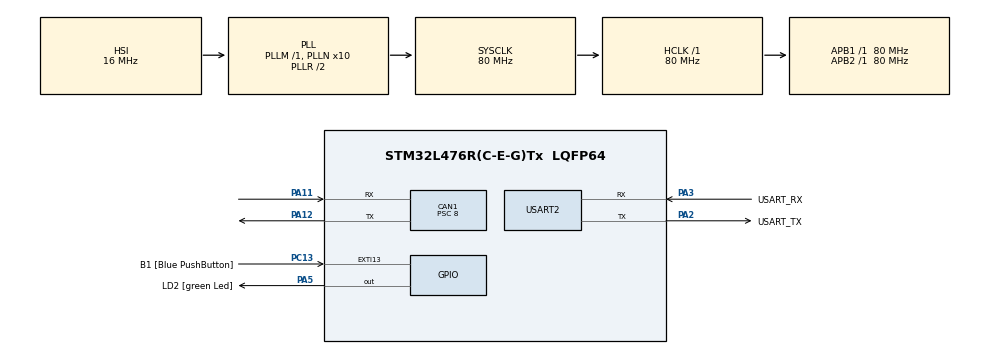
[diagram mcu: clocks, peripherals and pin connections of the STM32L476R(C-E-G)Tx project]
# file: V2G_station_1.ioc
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CAN1.BS1=CAN_BS1_10TQ
CAN1.CalculateBaudRate=833333
CAN1.CalculateTimeBit=1200
CAN1.CalculateTimeQuantum=100.0
CAN1.Prescaler=8
Mcu.Family=STM32L4
Mcu.Name=STM32L476R(C-E-G)Tx
Mcu.Package=LQFP64
NVIC.CAN1_RX0_IRQn=true\:0\:0\:false\:false\:true\:true\:true\:true
NVIC.CAN1_RX1_IRQn=true\:0\:0\:false\:false\:true\:true\:true\:true
NVIC.CAN1_SCE_IRQn=true\:0\:0\:false\:false\:true\:true\:true\:true
NVIC.CAN1_TX_IRQn=true\:0\:0\:false\:false\:true\:true\:true\:true
NVIC.PriorityGroup=NVIC_PRIORITYGROUP_4
NVIC.USART2_IRQn=true\:0\:0\:false\:false\:true\:true\:true\:true
PA11.Mode=CAN_Activate
PA11.Signal=CAN1_RX
PA12.Mode=CAN_Activate
PA12.Signal=CAN1_TX
PA13\ (JTMS-SWDIO).GPIO_Label=TMS
PA13\ (JTMS-SWDIO).Mode=Serial_Wire
PA13\ (JTMS-SWDIO).Signal=SYS_JTMS-SWDIO
PA14\ (JTCK-SWCLK).GPIO_Label=TCK
PA14\ (JTCK-SWCLK).Mode=Serial_Wire
PA14\ (JTCK-SWCLK).Signal=SYS_JTCK-SWCLK
PA2.GPIO_Label=USART_TX
PA2.GPIO_Mode=GPIO_MODE_AF_PP
PA2.GPIO_PuPd=GPIO_NOPULL
PA2.GPIO_Speed=GPIO_SPEED_FREQ_VERY_HIGH
PA2.Mode=Asynchronous
PA2.Signal=USART2_TX
PA3.GPIO_Label=USART_RX
PA3.GPIO_Mode=GPIO_MODE_AF_PP
PA3.GPIO_PuPd=GPIO_NOPULL
PA3.GPIO_Speed=GPIO_SPEED_FREQ_VERY_HIGH
PA3.Mode=Asynchronous
PA3.Signal=USART2_RX
PA5.GPIO_Label=LD2 [green Led]
PA5.GPIO_ModeDefaultOutputPP=GPIO_MODE_OUTPUT_PP
PA5.GPIO_PuPd=GPIO_NOPULL
PA5.GPIO_Speed=GPIO_SPEED_FREQ_LOW
PA5.Signal=GPIO_Output
PB3\ (JTDO-TRACESWO).GPIO_Label=SWO
PB3\ (JTDO-TRACESWO).Signal=SYS_JTDO-SWO
PC13.GPIO_Label=B1 [Blue PushButton]
PC13.GPIO_ModeDefaultEXTI=GPIO_MODE_IT_FALLING
PC13.GPIO_PuPd=GPIO_NOPULL
PC13.Signal=GPXTI13
PC14-OSC32_IN\ (PC14).Mode=LSE-External-Oscillator
PC14-OSC32_IN\ (PC14).Signal=RCC_OSC32_IN
PC15-OSC32_OUT\ (PC15).Mode=LSE-External-Oscillator
PC15-OSC32_OUT\ (PC15).Signal=RCC_OSC32_OUT
PH0-OSC_IN\ (PH0).Signal=RCC_OSC_IN
PH1-OSC_OUT\ (PH1).Signal=RCC_OSC_OUT
ProjectManager.HeapSize=0x200
ProjectManager.StackSize=0x400
ProjectManager.TargetToolchain=STM32CubeIDE
RCC.ADCFreq_Value=64000000
RCC.AHBFreq_Value=80000000
RCC.APB1Freq_Value=80000000
RCC.APB1TimFreq_Value=80000000
RCC.APB2Freq_Value=80000000
RCC.APB2TimFreq_Value=80000000
RCC.CortexFreq_Value=80000000
RCC.HCLKFreq_Value=80000000
RCC.HSE_VALUE=8000000
RCC.HSI_VALUE=16000000
RCC.MSI_VALUE=4000000
RCC.PLLN=10
RCC.PLLSourceVirtual=RCC_PLLSOURCE_HSI
RCC.PREFETCH_ENABLE=1
RCC.SYSCLKFreq_VALUE=80000000
RCC.SYSCLKSource=RCC_SYSCLKSOURCE_PLLCLK
RCC.USBFreq_Value=64000000
RCC.VCOOutputFreq_Value=160000000
USART2.VirtualMode-Asynchronous=VM_ASYNC
board=NUCLEO-L476RG

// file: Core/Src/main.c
/* USER CODE BEGIN Header */
/**
 ******************************************************************************
 * @file    main.c
 * @brief   Station MC — CHAdeMO 2.0 V2G
 *          Pont UART (station sim) ↔ CAN (battery MC)
 *
 * Phase 0 : rx CAN  0x100 → TX UART MSG100
 *           rx UART MSG108 → TX CAN 0x108
 *           rx CAN  0x101 → TX UART MSG101
 *           rx UART MSG109 → TX CAN 0x109
 *
 * Phase 1 : rx CAN  0x200 → TX UART MSG200
 *           rx UART MSG208 → TX CAN 0x208
 *
 * Phase 2 : rx CAN  0x201 → TX UART MSG201
 *           rx UART MSG209 → TX CAN 0x209
 *
 * Phase 3 (boucle 100ms) :
 *           rx CAN  0x102 → TX UART MSG102
 *           rx CAN  0x200 → TX UART MSG200 (non-bloquant)
 *           rx UART MSG109 → TX CAN 0x109  (non-bloquant)
 *           rx UART MSG208 → TX CAN 0x208  (non-bloquant)
 *
 * Phase 4 : arrêt propre → STATE:IDLE → reboucle while(1)
 ******************************************************************************
 */
/* USER CODE END Header */

#include "main.h"
#include "can.h"
#include "usart.h"
#include "gpio.h"
#include <string.h>
#include <stdio.h>
#include <stdlib.h>

/* USER CODE BEGIN PV */
uint16_t evse_available_voltage    = 400;
uint16_t evse_output_voltage_max   = 500;
uint16_t evse_output_voltage_min   = 200;
uint8_t  evse_available_current    = 100;
uint16_t evse_threshold_voltage    = 380;
uint8_t  evse_welding_detection    = 1;
uint8_t  evse_protocol_number      = 0x03;
uint16_t evse_present_voltage      = 0;
uint8_t  evse_present_current      = 0;
uint8_t  evse_stop_control         = 1;
uint8_t  evse_system_error         = 0;
uint8_t  evse_battery_incompat     = 0;
uint8_t  evse_connector_lock       = 0;
uint8_t  evse_error                = 0;
uint8_t  evse_status               = 0;
uint8_t  discharge_compatible      = 1;
uint8_t  evse_present_discharge_i  = 0xFF;
uint16_t evse_input_voltage        = 400;
uint8_t  evse_input_current        = 0xFF;
uint16_t evse_lower_threshold_v    = 280;
uint8_t  evse_sequence_number      = 0x01;
uint16_t evse_remaining_dis_t      = 0;

uint16_t veh_min_charge_i   = 0;
uint16_t veh_min_voltage    = 0;
uint16_t veh_max_voltage    = 0;
uint8_t  veh_soc            = 0;
uint16_t veh_target_voltage = 0;
uint8_t  veh_max_charge_i   = 0;
uint8_t  veh_charging_en    = 0;
uint8_t  veh_stop           = 0;
uint8_t  veh_max_dis_i      = 0;
uint16_t veh_min_dis_v      = 0;
uint8_t  veh_min_soc        = 0;
uint8_t  veh_seq_num        = 0;
uint16_t veh_dis_time       = 0;
uint16_t veh_energy         = 0;

volatile uint8_t flag_msg_100 = 0;
volatile uint8_t flag_msg_101 = 0;
volatile uint8_t flag_msg_102 = 0;
volatile uint8_t flag_msg_200 = 0;
volatile uint8_t flag_msg_201 = 0;
uint8_t rxData_100[8];
uint8_t rxData_101[8];
uint8_t rxData_102[8];
uint8_t rxData_200[8];
uint8_t rxData_201[8];

uint8_t txbuf[256];
int     Cable_Detected = 0;

/* USER CODE END PV */

void SystemClock_Config(void);

/* USER CODE BEGIN 0 */
#define RX_BUF_SIZE 128

static uint8_t          rx_byte;
static char             rx_buf[RX_BUF_SIZE];
static uint16_t         rx_idx        = 0;
static char             rx_line[RX_BUF_SIZE];
static volatile uint8_t rx_line_ready = 0;

void UART_RX_Start(void)
{
    rx_idx = 0; rx_line_ready = 0;
    HAL_UART_Receive_IT(&huart2, &rx_byte, 1);
}

void HAL_UART_RxCpltCallback(UART_HandleTypeDef *huart)
{
    if (huart->Instance != USART2) return;
    char c = (char)rx_byte;
    if (c == '\n') {
        if (rx_idx > 0 && rx_buf[rx_idx - 1] == '\r') rx_idx--;
        rx_buf[rx_idx] = '\0';
        strncpy(rx_line, rx_buf, RX_BUF_SIZE - 1);
        rx_line[RX_BUF_SIZE - 1] = '\0';
        rx_idx = 0; rx_line_ready = 1;
    } else {
        if (rx_idx < RX_BUF_SIZE - 1) rx_buf[rx_idx++] = c;
    }
    HAL_UART_Receive_IT(&huart2, &rx_byte, 1);
}

void UART_Send(const char *msg)
{
    HAL_UART_Transmit(&huart2, (uint8_t *)msg, strlen(msg), 100);
}

static int get_field(const char *line, int index)
{
    const char *p = strchr(line, ':');
    if (!p) return 0; p++;
    for (int i = 0; i < index; i++) {
        p = strchr(p, ',');
        if (!p) return 0; p++;
    }
    return atoi(p);
}

/**
 * @brief Attend une ligne UART. Ignore les DBG: et gère le RESET.
 */
static void wait_for_line(char *out)
{
    do {
        while (!rx_line_ready) { HAL_Delay(1); }
        __disable_irq();
        strncpy(out, rx_line, RX_BUF_SIZE - 1);
        out[RX_BUF_SIZE - 1] = '\0';
        rx_line_ready = 0;
        __enable_irq();
        if (strncmp(out, "RESET", 5) == 0) {
            uint8_t d[1] = {0xFF};
            CAN_TxHeaderTypeDef h; uint32_t mb;
            h.StdId = 0x7FF; h.IDE = CAN_ID_STD; h.RTR = CAN_RTR_DATA; h.DLC = 1;
            HAL_CAN_AddTxMessage(&hcan1, &h, d, &mb);
            HAL_Delay(10); HAL_NVIC_SystemReset();
        }
    } while (strncmp(out, "DBG:", 4) == 0);
}

static void CAN_Send(uint32_t id, uint8_t *data, uint8_t len)
{
    CAN_TxHeaderTypeDef h; uint32_t mb;
    h.StdId = id; h.IDE = CAN_ID_STD; h.RTR = CAN_RTR_DATA; h.DLC = len;
    if (HAL_CAN_AddTxMessage(&hcan1, &h, data, &mb) != HAL_OK)
        UART_Send("STATE:CAN_ERROR\r\n");
}

/* ── TX CAN ────────────────────────────────────────────────────────────────── */

static void send_0x108(void)
{
    uint8_t d[8] = {0};
    d[0] = evse_welding_detection;
    d[1] = evse_available_voltage & 0xFF; d[2] = evse_available_voltage >> 8;
    d[3] = evse_available_current;
    d[4] = evse_threshold_voltage & 0xFF; d[5] = evse_threshold_voltage >> 8;
    CAN_Send(0x108, d, 8);
}

static void send_0x109(uint8_t rem_10s, uint8_t rem_1min)
{
    uint8_t d[8] = {0};
    d[0] = evse_protocol_number;
    d[1] = evse_present_voltage & 0xFF; d[2] = evse_present_voltage >> 8;
    d[3] = evse_present_current;
    d[4] = discharge_compatible & 0x01;
    d[5] = (evse_stop_control     << 5) | (evse_system_error   << 4) |
           (evse_battery_incompat << 3) | (evse_connector_lock << 2) |
           (evse_error            << 1) | (evse_status         << 0);
    d[6] = rem_10s;
    d[7] = rem_1min;
    CAN_Send(0x109, d, 8);
}

static void send_0x208(void)
{
    uint8_t d[8] = {0};
    d[0] = evse_present_discharge_i;
    d[1] = evse_input_voltage & 0xFF; d[2] = evse_input_voltage >> 8;
    d[3] = evse_input_current;
    d[6] = evse_lower_threshold_v & 0xFF; d[7] = evse_lower_threshold_v >> 8;
    CAN_Send(0x208, d, 8);
}

static void send_0x209(void)
{
    uint8_t d[8] = {0};
    d[0] = evse_sequence_number;
    d[1] = evse_remaining_dis_t & 0xFF; d[2] = evse_remaining_dis_t >> 8;
    CAN_Send(0x209, d, 8);
}

/* ── RX CAN → forward UART ─────────────────────────────────────────────────── */

static void process_0x100(void)
{
    if (!flag_msg_100) return; flag_msg_100 = 0;
    veh_min_charge_i = rxData_100[0];
    veh_min_voltage  = rxData_100[2] | (rxData_100[3] << 8);
    veh_max_voltage  = rxData_100[4] | (rxData_100[5] << 8);
    veh_soc          = rxData_100[6];
    if (veh_max_voltage <= evse_output_voltage_max &&
        veh_max_voltage >= evse_output_voltage_min) {
        evse_available_voltage = veh_max_voltage;
        evse_battery_incompat  = 0;
    } else {
        evse_battery_incompat  = 1;
    }
    evse_threshold_voltage = evse_available_voltage - 20;
    sprintf((char *)txbuf, "MSG100:%d,%d,%d,%d\r\n",
            veh_min_charge_i, veh_min_voltage, veh_max_voltage, veh_soc);
    UART_Send((char *)txbuf);
}

static void process_0x101(void)
{
    if (!flag_msg_101) return; flag_msg_101 = 0;
    uint16_t cap = rxData_101[5] | (rxData_101[6] << 8);
    sprintf((char *)txbuf, "MSG101:%d,%d,%d,%d\r\n",
            rxData_101[1], rxData_101[2], rxData_101[3], cap);
    UART_Send((char *)txbuf);
}

static void process_0x102(void)
{
    if (!flag_msg_102) return; flag_msg_102 = 0;
    veh_target_voltage = rxData_102[1] | (rxData_102[2] << 8);
    veh_max_charge_i   = rxData_102[3];
    veh_charging_en    = rxData_102[5] & 0x01;
    veh_stop           = (rxData_102[5] >> 4) & 0x01;
    veh_soc            = rxData_102[6];
    sprintf((char *)txbuf, "MSG102:%d,%d,%d,%d,%d\r\n",
            veh_target_voltage, veh_max_charge_i, veh_soc, veh_charging_en, veh_stop);
    UART_Send((char *)txbuf);
}

static void process_0x200(void)
{
    if (!flag_msg_200) return; flag_msg_200 = 0;
    veh_max_dis_i = 0xFF - rxData_200[0];
    veh_min_dis_v = rxData_200[4] | (rxData_200[5] << 8);
    veh_min_soc   = rxData_200[6];
    sprintf((char *)txbuf, "MSG200:%d,%d,%d,%d\r\n",
            veh_max_dis_i, veh_min_dis_v, veh_min_soc, rxData_200[7]);
    UART_Send((char *)txbuf);
}

static void process_0x201(void)
{
    if (!flag_msg_201) return; flag_msg_201 = 0;
    veh_seq_num  = rxData_201[0];
    veh_dis_time = rxData_201[1] | (rxData_201[2] << 8);
    veh_energy   = rxData_201[3] | (rxData_201[4] << 8);
    sprintf((char *)txbuf, "MSG201:%d,%d,%d\r\n", veh_seq_num, veh_dis_time, veh_energy);
    UART_Send((char *)txbuf);
}

/* USER CODE END 0 */

/* ── main ──────────────────────────────────────────────────────────────────── */

int main(void)
{
    HAL_Init();
    SystemClock_Config();
    MX_GPIO_Init();
    MX_USART2_UART_Init();
    MX_CAN1_Init();

    CAN_Filter_Config();
    HAL_CAN_Start(&hcan1);
    HAL_CAN_ActivateNotification(&hcan1, CAN_IT_RX_FIFO0_MSG_PENDING);
    UART_RX_Start();

    char line[RX_BUF_SIZE];

    while (1)
    {
        evse_stop_control = 1;
        evse_status       = 0;

        /* ── Phase 0 — Handshake ─────────────────────────────────────────── */

        /* 1. Attente CAN 0x100 → TX UART MSG100 */
        while (!flag_msg_100) { HAL_Delay(1); }
        process_0x100();

        /* 2. Attente MSG108 UART → TX CAN 0x108
              station sim clique Phase 0 après réception MSG100 */
        wait_for_line(line);
        if (strncmp(line, "MSG108:", 7) == 0) {
            evse_welding_detection = get_field(line, 0);
            evse_available_voltage = get_field(line, 1);
            evse_available_current = get_field(line, 2);
            evse_threshold_voltage = get_field(line, 3);
            send_0x108();
        }

        /* 3. Attente CAN 0x101 → TX UART MSG101
              station sim envoie MSG109 automatiquement après MSG101 */
        while (!flag_msg_101) { HAL_Delay(1); }
        process_0x101();

        /* 4. Attente MSG109 UART → TX CAN 0x109 */
        wait_for_line(line);
        if (strncmp(line, "MSG109:", 7) == 0) {
            evse_present_voltage = get_field(line, 0);
            evse_present_current = get_field(line, 1);
            evse_stop_control    = get_field(line, 2);
            discharge_compatible = get_field(line, 3);
            uint8_t rem_min      = (uint8_t)get_field(line, 4);
            send_0x109(0xFF, rem_min);
        }

        /* ── Phase 1 — Négociation V2G ───────────────────────────────────── */

        /* 5. Attente CAN 0x200 → TX UART MSG200 */
        while (!flag_msg_200) { HAL_Delay(1); }
        process_0x200();

        /* 6. Attente MSG208 UART → TX CAN 0x208 */
        wait_for_line(line);
        if (strncmp(line, "MSG208:", 7) == 0) {
            evse_present_discharge_i = get_field(line, 0);
            evse_input_voltage       = get_field(line, 1);
            evse_input_current       = get_field(line, 2);
            evse_lower_threshold_v   = get_field(line, 3);
            send_0x208();
        }

        /* ── Phase 2 — Accord séquence ───────────────────────────────────── */

        /* 7. Attente CAN 0x201 → TX UART MSG201 */
        while (!flag_msg_201) { HAL_Delay(1); }
        process_0x201();

        if (veh_seq_num != evse_sequence_number) {
            UART_Send("STATE:SEQ_MISMATCH\r\n");
            continue;
        }

        /* 8. Attente MSG209 UART → TX CAN 0x209 */
        wait_for_line(line);
        if (strncmp(line, "MSG209:", 7) == 0) {
            evse_sequence_number = get_field(line, 0);
            evse_remaining_dis_t = get_field(line, 1);
            send_0x209();
        }

        /* ── Phase 3 — Boucle décharge V2G (100ms) ──────────────────────── */
        UART_Send("STATE:DISCHARGING\r\n");
        evse_stop_control = 0;
        evse_status       = 1;

        do {
            /* 9a. Attente CAN 0x102 → TX UART MSG102
                  bloquant : on attend le prochain tick du battery sim */
            while (!flag_msg_102) { HAL_Delay(1); }
            process_0x102();

            /* 9b. CAN 0x200 non-bloquant → TX UART MSG200
                  (battery sim envoie MSG200 juste après MSG102) */
            if (flag_msg_200) {
                process_0x200();
            }

            /* 9c. MSG109 UART non-bloquant → TX CAN 0x109
                  Le station sim répond automatiquement à MSG102
                  quand Phase 3 est active. Pas bloquant car le premier
                  MSG102 arrive avant que Phase 3 soit cliquée. */
            if (rx_line_ready) {
                __disable_irq();
                strncpy(line, rx_line, RX_BUF_SIZE - 1);
                line[RX_BUF_SIZE - 1] = '\0';
                rx_line_ready = 0;
                __enable_irq();

                if (strncmp(line, "MSG109:", 7) == 0) {
                    evse_present_voltage = get_field(line, 0);
                    evse_present_current = get_field(line, 1);
                    evse_stop_control    = get_field(line, 2);
                    uint8_t rem          = (uint8_t)get_field(line, 4);
                    evse_remaining_dis_t = rem;
                    send_0x109(0xFF, rem);
                }
                /* 9d. MSG208 peut arriver juste après MSG109 */
                else if (strncmp(line, "MSG208:", 7) == 0) {
                    evse_present_discharge_i = get_field(line, 0);
                    evse_input_voltage       = get_field(line, 1);
                    evse_input_current       = get_field(line, 2);
                    send_0x208();
                }
            }

            /* Conditions d'arrêt */
            if (veh_stop || !veh_charging_en) {
                UART_Send("STATE:VEHICLE_STOP\r\n");
                evse_stop_control = 1;
                break;
            }
            if (veh_soc <= veh_min_soc) {
                UART_Send("STATE:SOC_MIN\r\n");
                evse_stop_control = 1;
                break;
            }
            if (evse_stop_control) {
                UART_Send("STATE:EVSE_STOP\r\n");
                break;
            }

        } while (1);

        /* ── Phase 4 — Arrêt propre ──────────────────────────────────────── */
        UART_Send("STATE:STOPPING\r\n");
        evse_stop_control        = 1;
        evse_status              = 0;
        evse_present_discharge_i = 0xFF;
        evse_present_current     = 0;
        evse_present_voltage     = 0;
        send_0x109(0x00, 0x00);
        send_0x208();
        HAL_Delay(500);
        UART_Send("STATE:IDLE\r\n");
    }
}

void SystemClock_Config(void)
{
  RCC_OscInitTypeDef RCC_OscInitStruct = {0};
  RCC_ClkInitTypeDef RCC_ClkInitStruct = {0};

  /** Configure the main internal regulator output voltage
  */
  if (HAL_PWREx_ControlVoltageScaling(PWR_REGULATOR_VOLTAGE_SCALE1) != HAL_OK)
  {
    Error_Handler();
  }

  /** Initializes the RCC Oscillators according to the specified parameters
  * in the RCC_OscInitTypeDef structure.
  */
  RCC_OscInitStruct.OscillatorType = RCC_OSCILLATORTYPE_HSI;
  RCC_OscInitStruct.HSIState = RCC_HSI_ON;
  RCC_OscInitStruct.HSICalibrationValue = RCC_HSICALIBRATION_DEFAULT;
  RCC_OscInitStruct.PLL.PLLState = RCC_PLL_ON;
  RCC_OscInitStruct.PLL.PLLSource = RCC_PLLSOURCE_HSI;
  RCC_OscInitStruct.PLL.PLLM = 1;
  RCC_OscInitStruct.PLL.PLLN = 10;
  RCC_OscInitStruct.PLL.PLLP = RCC_PLLP_DIV7;
  RCC_OscInitStruct.PLL.PLLQ = RCC_PLLQ_DIV2;
  RCC_OscInitStruct.PLL.PLLR = RCC_PLLR_DIV2;
  if (HAL_RCC_OscConfig(&RCC_OscInitStruct) != HAL_OK)
  {
    Error_Handler();
  }

  /** Initializes the CPU, AHB and APB buses clocks
  */
  RCC_ClkInitStruct.ClockType = RCC_CLOCKTYPE_HCLK|RCC_CLOCKTYPE_SYSCLK
                              |RCC_CLOCKTYPE_PCLK1|RCC_CLOCKTYPE_PCLK2;
  RCC_ClkInitStruct.SYSCLKSource = RCC_SYSCLKSOURCE_PLLCLK;
  RCC_ClkInitStruct.AHBCLKDivider = RCC_SYSCLK_DIV1;
  RCC_ClkInitStruct.APB1CLKDivider = RCC_HCLK_DIV1;
  RCC_ClkInitStruct.APB2CLKDivider = RCC_HCLK_DIV1;

  if (HAL_RCC_ClockConfig(&RCC_ClkInitStruct, FLASH_LATENCY_4) != HAL_OK)
  {
    Error_Handler();
  }
}

/* USER CODE BEGIN 4 */

void CAN_Filter_Config(void)
{
    CAN_FilterTypeDef f;
    f.FilterActivation     = ENABLE;
    f.FilterBank           = 0;
    f.FilterFIFOAssignment = CAN_FILTER_FIFO0;
    f.FilterMode           = CAN_FILTERMODE_IDMASK;
    f.FilterScale          = CAN_FILTERSCALE_32BIT;
    f.FilterIdHigh = f.FilterIdLow = 0x0000;
    f.FilterMaskIdHigh = f.FilterMaskIdLow = 0x0000;
    HAL_CAN_ConfigFilter(&hcan1, &f);
}

void HAL_GPIO_EXTI_Callback(uint16_t GPIO_Pin)
{
    Cable_Detected = 1;
}

void HAL_CAN_RxFifo0MsgPendingCallback(CAN_HandleTypeDef *hcan)
{
    CAN_RxHeaderTypeDef rxh;
    uint8_t tmp[8];
    if (HAL_CAN_GetRxMessage(hcan, CAN_RX_FIFO0, &rxh, tmp) != HAL_OK) return;
    switch (rxh.StdId) {
        case 0x100: memcpy(rxData_100, tmp, 8); flag_msg_100 = 1; break;
        case 0x101: memcpy(rxData_101, tmp, 8); flag_msg_101 = 1; break;
        case 0x102: memcpy(rxData_102, tmp, 8); flag_msg_102 = 1; break;
        case 0x200: memcpy(rxData_200, tmp, 8); flag_msg_200 = 1; break;
        case 0x201: memcpy(rxData_201, tmp, 8); flag_msg_201 = 1; break;
        case 0x7FF:
            UART_Send("RESET\r\n");
            HAL_Delay(10);
            HAL_NVIC_SystemReset();
            break;
    }
}

/* USER CODE END 4 */

void Error_Handler(void)
{
  __disable_irq();
  while (1)
  {
  }
}
